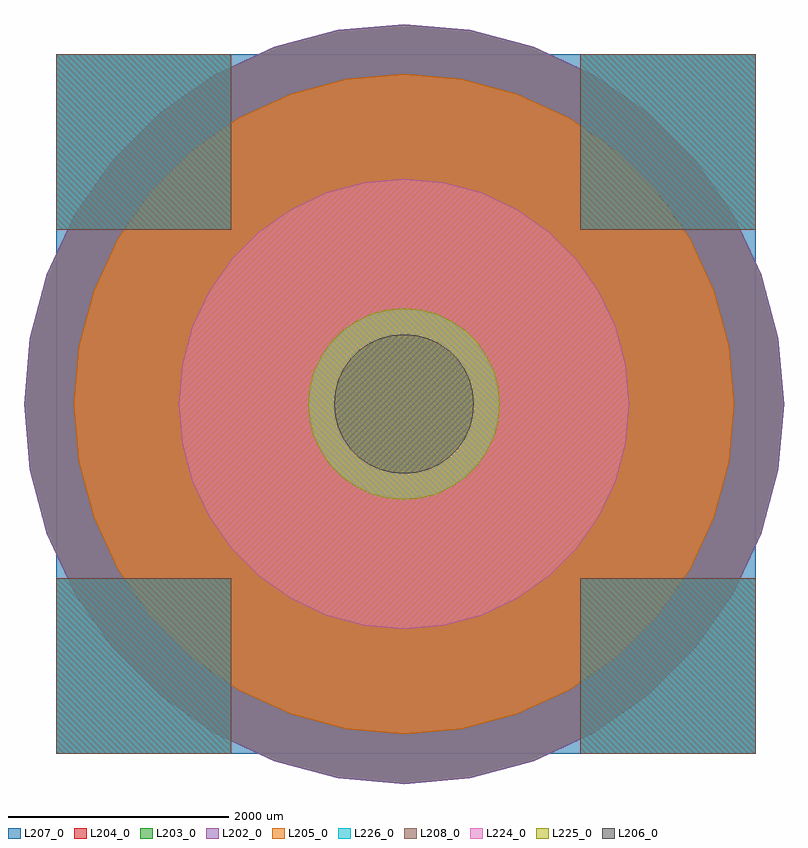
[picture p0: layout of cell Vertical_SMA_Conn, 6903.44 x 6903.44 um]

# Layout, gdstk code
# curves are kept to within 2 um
import gdstk
lib = gdstk.Library(unit=1e-6, precision=1e-09)
def R(c, l, rs):  # rectangles x0, y0, x1, y1
    for r in rs: c.add(gdstk.rectangle(r[:2], r[2:], *l))
def P(c, l, *ps):  # polygons
    for p in ps: c.add(gdstk.Polygon(p, *l))
L202_0 = (202, 0)
L203_0 = (203, 0)
L204_0 = (204, 0)
L205_0 = (205, 0)
L206_0 = (206, 0)
L207_0 = (207, 0)
L208_0 = (208, 0)
L224_0 = (224, 0)
L225_0 = (225, 0)
L226_0 = (226, 0)

vertical_sma_conn = lib.new_cell('Vertical_SMA_Conn')
P(vertical_sma_conn, L202_0, [(-39.253,-3448.285),(0,-3451.719),(599.385,-3399.279),(1180.557,-3243.555),(1725.859,-2989.276),(2218.723,-2644.17),(2644.17,-2218.723),(2989.276,-1725.859),(3243.555,-1180.557),(3399.279,-599.385),(3451.719,0),(3399.279,599.385),(3243.555,1180.557),(2989.276,1725.859),(2644.17,2218.723),(2218.723,2644.17),(1725.859,2989.276),(1180.557,3243.555),(599.385,3399.279),(0,3451.719),(-599.385,3399.279),(-1180.557,3243.555),(-1725.859,2989.276),(-2218.723,2644.17),(-2644.17,2218.723),(-2989.276,1725.859),(-3243.555,1180.557),(-3399.279,599.385),(-3451.719,0),(-3399.279,-599.385),(-3243.555,-1180.557),(-2989.276,-1725.859),(-2644.17,-2218.723),(-2218.723,-2644.17),(-1725.859,-2989.276),(-1180.557,-3243.555),(-599.385,-3399.279)])
P(vertical_sma_conn, L203_0, [(-39.253,-3448.285),(0,-3451.719),(599.385,-3399.279),(1180.557,-3243.555),(1725.859,-2989.276),(2218.723,-2644.17),(2644.17,-2218.723),(2989.276,-1725.859),(3243.555,-1180.557),(3399.279,-599.385),(3451.719,0),(3399.279,599.385),(3243.555,1180.557),(2989.276,1725.859),(2644.17,2218.723),(2218.723,2644.17),(1725.859,2989.276),(1180.557,3243.555),(599.385,3399.279),(0,3451.719),(-599.385,3399.279),(-1180.557,3243.555),(-1725.859,2989.276),(-2218.723,2644.17),(-2644.17,2218.723),(-2989.276,1725.859),(-3243.555,1180.557),(-3399.279,599.385),(-3451.719,0),(-3399.279,-599.385),(-3243.555,-1180.557),(-2989.276,-1725.859),(-2644.17,-2218.723),(-2218.723,-2644.17),(-1725.859,-2989.276),(-1180.557,-3243.555),(-599.385,-3399.279)])
P(vertical_sma_conn, L204_0, [(-39.253,-3448.285),(0,-3451.719),(599.385,-3399.279),(1180.557,-3243.555),(1725.859,-2989.276),(2218.723,-2644.17),(2644.17,-2218.723),(2989.276,-1725.859),(3243.555,-1180.557),(3399.279,-599.385),(3451.719,0),(3399.279,599.385),(3243.555,1180.557),(2989.276,1725.859),(2644.17,2218.723),(2218.723,2644.17),(1725.859,2989.276),(1180.557,3243.555),(599.385,3399.279),(0,3451.719),(-599.385,3399.279),(-1180.557,3243.555),(-1725.859,2989.276),(-2218.723,2644.17),(-2644.17,2218.723),(-2989.276,1725.859),(-3243.555,1180.557),(-3399.279,599.385),(-3451.719,0),(-3399.279,-599.385),(-3243.555,-1180.557),(-2989.276,-1725.859),(-2644.17,-2218.723),(-2218.723,-2644.17),(-1725.859,-2989.276),(-1180.557,-3243.555),(-599.385,-3399.279)])
P(vertical_sma_conn, L205_0, [(3000,0),(2954.423,-520.945),(2819.078,-1026.06),(2598.076,-1500),(2298.133,-1928.363),(1928.363,-2298.133),(1500,-2598.076),(1026.06,-2819.078),(520.945,-2954.423),(0,-3000),(-520.945,-2954.423),(-1026.06,-2819.078),(-1500,-2598.076),(-1928.363,-2298.133),(-2298.133,-1928.363),(-2598.076,-1500),(-2819.078,-1026.06),(-2954.423,-520.945),(-3000,0),(-2954.423,520.945),(-2819.078,1026.06),(-2598.076,1500),(-2298.133,1928.363),(-1928.363,2298.133),(-1500,2598.076),(-1026.06,2819.078),(-520.945,2954.423),(0,3000),(520.945,2954.423),(1026.06,2819.078),(1500,2598.076),(1928.363,2298.133),(2298.133,1928.363),(2598.076,1500),(2819.078,1026.06),(2954.423,520.945)])
P(vertical_sma_conn, L206_0, [(635,0),(625.353,-110.267),(596.705,-217.183),(549.926,-317.5),(486.438,-408.17),(408.17,-486.438),(317.5,-549.926),(217.183,-596.705),(110.267,-625.353),(0,-635),(-110.267,-625.353),(-217.183,-596.705),(-317.5,-549.926),(-408.17,-486.438),(-486.438,-408.17),(-549.926,-317.5),(-596.705,-217.183),(-625.353,-110.267),(-635,0),(-625.353,110.267),(-596.705,217.183),(-549.926,317.5),(-486.438,408.17),(-408.17,486.438),(-317.5,549.926),(-217.183,596.705),(-110.267,625.353),(0,635),(110.267,625.353),(217.183,596.705),(317.5,549.926),(408.17,486.438),(486.438,408.17),(549.926,317.5),(596.705,217.183),(625.353,110.267)])
R(vertical_sma_conn, L207_0, [(-3157,-3175,3193,3175)])
R(vertical_sma_conn, L208_0, [(-3157,-3175,-1567,-1585), (-3157,-3175,-1567,-1585), (1603,-3175,3193,-1585), (1603,-3175,3193,-1585), (-3157,1585,-1567,3175), (-3157,1585,-1567,3175), (1603,1585,3193,3175), (1603,1585,3193,3175)])
P(vertical_sma_conn, L224_0, [(2045,0),(2013.932,-355.111),(1921.671,-699.431),(1771.022,-1022.5),(1566.561,-1314.501),(1314.501,-1566.561),(1022.5,-1771.022),(699.431,-1921.671),(355.111,-2013.932),(0,-2045),(-355.111,-2013.932),(-699.431,-1921.671),(-1022.5,-1771.022),(-1314.501,-1566.561),(-1566.561,-1314.501),(-1771.022,-1022.5),(-1921.671,-699.431),(-2013.932,-355.111),(-2045,0),(-2013.932,355.111),(-1921.671,699.431),(-1771.022,1022.5),(-1566.561,1314.501),(-1314.501,1566.561),(-1022.5,1771.022),(-699.431,1921.671),(-355.111,2013.932),(0,2045),(355.111,2013.932),(699.431,1921.671),(1022.5,1771.022),(1314.501,1566.561),(1566.561,1314.501),(1771.022,1022.5),(1921.671,699.431),(2013.932,355.111)])
P(vertical_sma_conn, L225_0, [(870,0),(856.783,-151.074),(817.533,-297.558),(753.442,-435),(666.459,-559.225),(559.225,-666.459),(435,-753.442),(297.558,-817.533),(151.074,-856.783),(0,-870),(-151.074,-856.783),(-297.558,-817.533),(-435,-753.442),(-559.225,-666.459),(-666.459,-559.225),(-753.442,-435),(-817.533,-297.558),(-856.783,-151.074),(-870,0),(-856.783,151.074),(-817.533,297.558),(-753.442,435),(-666.459,559.225),(-559.225,666.459),(-435,753.442),(-297.558,817.533),(-151.074,856.783),(0,870),(151.074,856.783),(297.558,817.533),(435,753.442),(559.225,666.459),(666.459,559.225),(753.442,435),(817.533,297.558),(856.783,151.074)],
  [(870,0),(856.783,-151.074),(817.533,-297.558),(753.442,-435),(666.459,-559.225),(559.225,-666.459),(435,-753.442),(297.558,-817.533),(151.074,-856.783),(0,-870),(-151.074,-856.783),(-297.558,-817.533),(-435,-753.442),(-559.225,-666.459),(-666.459,-559.225),(-753.442,-435),(-817.533,-297.558),(-856.783,-151.074),(-870,0),(-856.783,151.074),(-817.533,297.558),(-753.442,435),(-666.459,559.225),(-559.225,666.459),(-435,753.442),(-297.558,817.533),(-151.074,856.783),(0,870),(151.074,856.783),(297.558,817.533),(435,753.442),(559.225,666.459),(666.459,559.225),(753.442,435),(817.533,297.558),(856.783,151.074)])
R(vertical_sma_conn, L226_0, [(-3157,-3175,-1567,-1585), (-3157,-3175,-1567,-1585), (1603,-3175,3193,-1585), (1603,-3175,3193,-1585), (-3157,1585,-1567,3175), (-3157,1585,-1567,3175), (1603,1585,3193,3175), (1603,1585,3193,3175)])
P(vertical_sma_conn, L226_0, [(870,0),(856.783,-151.074),(817.533,-297.558),(753.442,-435),(666.459,-559.225),(559.225,-666.459),(435,-753.442),(297.558,-817.533),(151.074,-856.783),(0,-870),(-151.074,-856.783),(-297.558,-817.533),(-435,-753.442),(-559.225,-666.459),(-666.459,-559.225),(-753.442,-435),(-817.533,-297.558),(-856.783,-151.074),(-870,0),(-856.783,151.074),(-817.533,297.558),(-753.442,435),(-666.459,559.225),(-559.225,666.459),(-435,753.442),(-297.558,817.533),(-151.074,856.783),(0,870),(151.074,856.783),(297.558,817.533),(435,753.442),(559.225,666.459),(666.459,559.225),(753.442,435),(817.533,297.558),(856.783,151.074)],
  [(870,0),(856.783,-151.074),(817.533,-297.558),(753.442,-435),(666.459,-559.225),(559.225,-666.459),(435,-753.442),(297.558,-817.533),(151.074,-856.783),(0,-870),(-151.074,-856.783),(-297.558,-817.533),(-435,-753.442),(-559.225,-666.459),(-666.459,-559.225),(-753.442,-435),(-817.533,-297.558),(-856.783,-151.074),(-870,0),(-856.783,151.074),(-817.533,297.558),(-753.442,435),(-666.459,559.225),(-559.225,666.459),(-435,753.442),(-297.558,817.533),(-151.074,856.783),(0,870),(151.074,856.783),(297.558,817.533),(435,753.442),(559.225,666.459),(666.459,559.225),(753.442,435),(817.533,297.558),(856.783,151.074)])

lib.write_gds('Vertical_SMA_Conn.gds')
